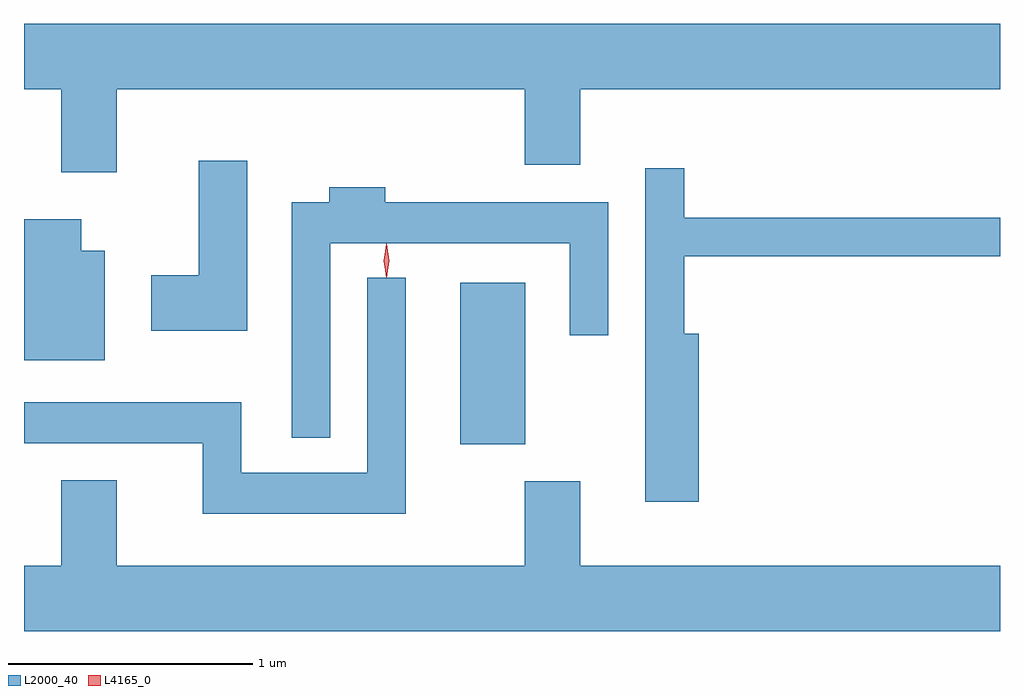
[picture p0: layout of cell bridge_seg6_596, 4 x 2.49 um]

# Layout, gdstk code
import gdstk
lib = gdstk.Library(unit=1e-6, precision=1e-09)
def R(c, l, rs):  # rectangles x0, y0, x1, y1
    for r in rs: c.add(gdstk.rectangle(r[:2], r[2:], *l))
def P(c, l, *ps):  # polygons
    for p in ps: c.add(gdstk.Polygon(p, *l))
L2000_40 = (2000, 40)
L4165_0 = (4165, 0)

bridge_seg6_596 = lib.new_cell('bridge_seg6_596')
R(bridge_seg6_596, L2000_40, [(527.906,1630.721,528.174,1631.384)])
P(bridge_seg6_596, L2000_40, [(526.499,1632.176),(528.171,1632.176),(528.171,1631.866),(528.399,1631.866),(528.399,1632.176),(530.119,1632.176),(530.119,1632.444),(526.119,1632.444),(526.119,1632.176),(526.271,1632.176),(526.271,1631.836),(526.499,1631.836)],
  [(527.034,1631.884),(526.836,1631.884),(526.836,1631.414),(526.641,1631.414),(526.641,1631.186),(527.034,1631.186)],
  [(528.884,1631.174),(528.824,1631.174),(528.824,1631.491),(530.119,1631.491),(530.119,1631.649),(528.824,1631.649),(528.824,1631.853),(528.666,1631.853),(528.666,1630.486),(528.884,1630.486)],
  [(527.374,1631.546),(528.356,1631.546),(528.356,1631.168),(528.514,1631.168),(528.514,1631.714),(527.599,1631.714),(527.599,1631.774),(527.371,1631.774),(527.371,1631.714),(527.216,1631.714),(527.216,1630.748),(527.374,1630.748)],
  [(526.449,1631.514),(526.354,1631.514),(526.354,1631.644),(526.119,1631.644),(526.119,1631.066),(526.449,1631.066)],
  [(527.684,1631.403),(527.526,1631.403),(527.526,1630.604),(527.009,1630.604),(527.009,1630.894),(526.119,1630.894),(526.119,1630.726),(526.851,1630.726),(526.851,1630.436),(527.684,1630.436)],
  [(530.119,1630.224),(528.399,1630.224),(528.399,1630.569),(528.171,1630.569),(528.171,1630.224),(526.499,1630.224),(526.499,1630.574),(526.271,1630.574),(526.271,1630.224),(526.119,1630.224),(526.119,1629.956),(530.119,1629.956)])
P(bridge_seg6_596, L4165_0, [(527.603,1631.407),(527.594,1631.474),(527.603,1631.54),(527.604,1631.541),(527.604,1631.54),(527.614,1631.474),(527.604,1631.407),(527.604,1631.407)],
  [(527.604,1631.404),(527.595,1631.473),(527.604,1631.543),(527.605,1631.543),(527.606,1631.543),(527.615,1631.473),(527.606,1631.404),(527.605,1631.404)])

lib.write_gds('bridge_seg6_596.gds')
